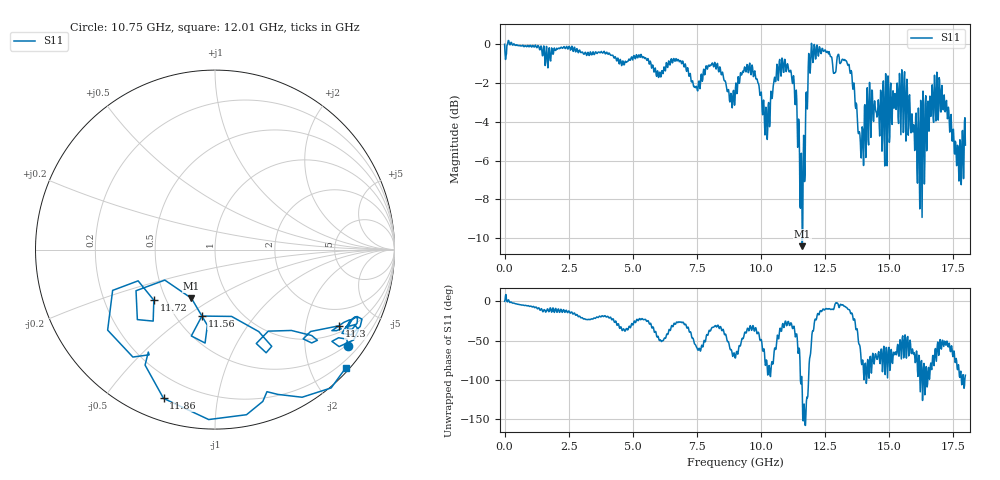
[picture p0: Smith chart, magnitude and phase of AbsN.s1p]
!Keysight Technologies N9917A: A.12.46
!Date: Friday, 22 December 2023 20:32:08
!TimeZone: (UTC-03:00) Buenos Aires!Model: N9917A
!Serial: MY56072049
!GPS Latitude:
!GPS Longitude:
!GPS TimeStamp: 0001-01-01 00:00:00Z
!GPS Seconds Since Last Read: 0
!CHECKSUM:1521196075
!Correction: S11(ON U)
!S1P File: Measurement: S11:
# Hz S RI R 50
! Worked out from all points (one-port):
!   1001 points, 30 kHz to 18 GHz, reference 50 ohm
!   lowest |S11| = -10.4 dB at 11.63 GHz (marker M1), VSWR 1.86, Z = 33.6 - j20 ohm
!   |S11| at or under -10 dB: 11.62546 GHz to 11.63854 GHz (13.08 MHz wide, 0.112 % of centre)
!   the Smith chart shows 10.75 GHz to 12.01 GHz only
!   S11 on the Smith chart (normalised r, x): 10.75 GHz: 0.46, -3.00; 11.3 GHz: 1.24, -3.07; 11.56 GHz: 0.67, -0.57; 11.72 GHz: 0.43, -0.30; 11.86 GHz: 0.10, -0.71; 12.01 GHz: 0.07, -2.60
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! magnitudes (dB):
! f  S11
! 30 kHz  0.0
! 2.25 GHz  -0.2
! 4.5 GHz  -0.9
! 6.03 GHz  -1.7
! 6.75 GHz  -0.8
! 7.47 GHz  -2.2
! 8.244 GHz  -1.2
! 9 GHz  -2.9
! 9.63 GHz  -1.6
! 10.26 GHz  -4.9
! 10.75 GHz  -0.8
! 11.25 GHz  -2.0
! 11.3 GHz  -1.8
! 11.43 GHz  -4.2
! 11.56 GHz  -8.5
! 11.63 GHz  -10.4
! 11.72 GHz  -7.1
! 11.86 GHz  -1.1
! 12.01 GHz  -0.2
! 13.5 GHz  -1.5
! 13.95 GHz  -5.1
! 14.33 GHz  -3.8
! 15.75 GHz  -3.4
! 16.22 GHz  -8.5
! 16.88 GHz  -1.4
! 17.26 GHz  -2.9
! 17.75 GHz  -7.1
! 18 GHz  -5.2
